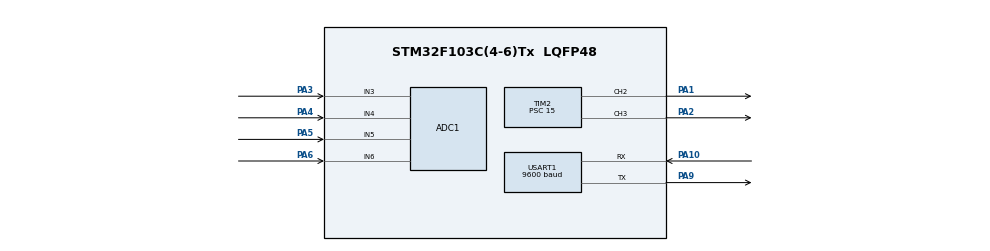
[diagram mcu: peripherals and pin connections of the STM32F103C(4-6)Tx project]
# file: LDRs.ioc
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ADC1.Channel-0\#ChannelRegularConversion=ADC_CHANNEL_3
ADC1.Channel-1\#ChannelRegularConversion=ADC_CHANNEL_4
ADC1.Channel-2\#ChannelRegularConversion=ADC_CHANNEL_5
ADC1.Channel-3\#ChannelRegularConversion=ADC_CHANNEL_6
ADC1.ContinuousConvMode=ENABLE
ADC1.DataAlign=ADC_DATAALIGN_RIGHT
ADC1.NbrOfConversion=4
ADC1.NbrOfConversionFlag=1
ADC1.Rank-0\#ChannelRegularConversion=1
ADC1.Rank-1\#ChannelRegularConversion=2
ADC1.Rank-2\#ChannelRegularConversion=3
ADC1.Rank-3\#ChannelRegularConversion=4
ADC1.SamplingTime-0\#ChannelRegularConversion=ADC_SAMPLETIME_71CYCLES_5
ADC1.SamplingTime-1\#ChannelRegularConversion=ADC_SAMPLETIME_71CYCLES_5
ADC1.SamplingTime-2\#ChannelRegularConversion=ADC_SAMPLETIME_71CYCLES_5
ADC1.SamplingTime-3\#ChannelRegularConversion=ADC_SAMPLETIME_71CYCLES_5
ADC1.master=1
Dma.ADC1.0.Direction=DMA_PERIPH_TO_MEMORY
Dma.ADC1.0.Instance=DMA1_Channel1
Dma.ADC1.0.MemDataAlignment=DMA_MDATAALIGN_WORD
Dma.ADC1.0.MemInc=DMA_MINC_ENABLE
Dma.ADC1.0.Mode=DMA_CIRCULAR
Dma.ADC1.0.PeriphDataAlignment=DMA_PDATAALIGN_WORD
Dma.ADC1.0.PeriphInc=DMA_PINC_DISABLE
Dma.ADC1.0.Priority=DMA_PRIORITY_LOW
Dma.Request0=ADC1
Mcu.Family=STM32F1
Mcu.Name=STM32F103C(4-6)Tx
Mcu.Package=LQFP48
NVIC.DMA1_Channel1_IRQn=true\:0\:0\:false\:false\:true\:false\:true\:true
NVIC.PriorityGroup=NVIC_PRIORITYGROUP_4
PA1.Signal=S_TIM2_CH2
PA10.Mode=Asynchronous
PA10.Signal=USART1_RX
PA2.Signal=S_TIM2_CH3
PA3.Signal=ADCx_IN3
PA4.Signal=ADCx_IN4
PA5.Signal=ADCx_IN5
PA6.Signal=ADCx_IN6
PA9.Mode=Asynchronous
PA9.Signal=USART1_TX
ProjectManager.HeapSize=0x200
ProjectManager.StackSize=0x400
ProjectManager.TargetToolchain=STM32CubeIDE
RCC.ADCPresc=RCC_ADCPCLK2_DIV8
RCC.APB1Freq_Value=8000000
RCC.APB2Freq_Value=8000000
RCC.APB2TimFreq_Value=8000000
SH.ADCx_IN3.0=ADC1_IN3,IN3
SH.ADCx_IN4.0=ADC1_IN4,IN4
SH.ADCx_IN5.0=ADC1_IN5,IN5
SH.ADCx_IN6.0=ADC1_IN6,IN6
SH.S_TIM2_CH2.0=TIM2_CH2,PWM Generation2 CH2
SH.S_TIM2_CH3.0=TIM2_CH3,PWM Generation3 CH3
TIM2.Channel-PWM\ Generation2\ CH2=TIM_CHANNEL_2
TIM2.Channel-PWM\ Generation3\ CH3=TIM_CHANNEL_3
TIM2.OCMode_PWM-PWM\ Generation2\ CH2=TIM_OCMODE_PWM2
TIM2.OCMode_PWM-PWM\ Generation3\ CH3=TIM_OCMODE_PWM2
TIM2.Period=999
TIM2.Prescaler=15
USART1.BaudRate=9600
USART1.VirtualMode=VM_ASYNC
VP_SYS_VS_ND.Mode=No_Debug
VP_TIM2_VS_ClockSourceINT.Mode=Internal
board=custom

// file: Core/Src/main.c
/* USER CODE BEGIN Header */
/**
  ******************************************************************************
  * @file           : main.c
  * @brief          : Main program body
  ******************************************************************************
  * @attention
  *
  * Copyright (c) 2024 STMicroelectronics.
  * All rights reserved.
  *
  * This software is licensed under terms that can be found in the LICENSE file
  * in the root directory of this software component.
  * If no LICENSE file comes with this software, it is provided AS-IS.
  *
  ******************************************************************************
  */
/* USER CODE END Header */
#include "main.h"

/* USER CODE BEGIN Includes */
#include "math.h"
#include <stdio.h>
#include <string.h>
/* USER CODE END Includes */

/* USER CODE BEGIN PD */
                              // Definiciones de umbrales y límites
#define UMBRAL_LUZ 2 // Umbral de luz para decidir si se ajusta la posición
#define LIMITE_VERTICAL_SUP 800 // Límite superior de posición vertical
#define LIMITE_VERTICAL_INF -800   // Límite inferior de posición vertical
#define LIMITE_HORIZONTAL_SUP 800 // Límite superior de posición horizontal
#define LIMITE_HORIZONTAL_INF -800   // Límite inferior de posición horizontal

/* USER CODE END PD */

ADC_HandleTypeDef hadc1;
DMA_HandleTypeDef hdma_adc1;

TIM_HandleTypeDef htim2;

UART_HandleTypeDef huart1;

/* USER CODE BEGIN PV */
int pos_servoV = 0; // Posición vertical inicial (valor entre -80 y 80)
int pos_servoH = 0; // Posición horizontal inicial (valor entre -80 y 80)
uint32_t LDR_values[4];

/* USER CODE END PV */

void SystemClock_Config(void);
static void MX_GPIO_Init(void);
static void MX_DMA_Init(void);
static void MX_ADC1_Init(void);
static void MX_TIM2_Init(void);
static void MX_USART1_UART_Init(void);
/* USER CODE BEGIN PFP */
void moverSeguidor(float promedio_arriba, float promedio_abajo, float promedio_iz, float promedio_der);
long map(long x, long in_min, long in_max, long out_min, long out_max);

/* USER CODE END PFP */

int main(void)
{

  /* MCU Configuration--------------------------------------------------------*/

  /* Reset of all peripherals, Initializes the Flash interface and the Systick. */
  HAL_Init();

  /* Configure the system clock */
  SystemClock_Config();

  /* Initialize all configured peripherals */
  MX_GPIO_Init();
  MX_DMA_Init();
  MX_ADC1_Init();
  MX_TIM2_Init();
  MX_USART1_UART_Init();
  /* USER CODE BEGIN 2 */
  HAL_ADC_Start_DMA(&hadc1, LDR_values, 4);
  HAL_TIM_PWM_Start(&htim2, TIM_CHANNEL_2);
  HAL_TIM_PWM_Start(&htim2, TIM_CHANNEL_3);
  TIM2->CCR2 =750;
  TIM2->CCR3 =750;
int iteration=1;

  /* USER CODE END 2 */

  /* Infinite loop */
  /* USER CODE BEGIN WHILE */
  while (1)
  {
	  /*// Imprimir los valores en la UART
	  		char buffer[100];
	  		sprintf(buffer, "LDR0: %lu, LDR1: %lu, LDR2: %lu, LDR3 %lu\r\n--- Medicion finalizada ---\r\n",
	  				LDR_values[0], LDR_values[1], LDR_values[2], LDR_values[3]);
	  		HAL_UART_Transmit(&huart1, (uint8_t*)buffer, strlen(buffer), HAL_MAX_DELAY);

	  // Calcular promedios de los valores de los LDRs
	  		float promedio_arriba = (LDR_values[0] + LDR_values[1]) / 2;
	  		float promedio_abajo = (LDR_values[2] + LDR_values[3]) / 2;
	  		float promedio_iz = (LDR_values[0] + LDR_values[2]) / 2;
	  		float promedio_der = (LDR_values[1] + LDR_values[3]) / 2;

	  // Mover el seguidor según las lecturas
	  		moverSeguidor(promedio_arriba, promedio_abajo, promedio_iz, promedio_der);
*/

	  //----------------------------------------------------

	  // Imprimir la leyenda de la iteración en la UART
	      char iteration_buffer[25];
	      sprintf(iteration_buffer, "\r\n--- Iteracion %d ---\r\n", iteration);
	      HAL_UART_Transmit(&huart1, (uint8_t *)iteration_buffer, strlen(iteration_buffer), HAL_MAX_DELAY);

	      // Imprimir los valores en la UART
	      char buffer[50];
	      sprintf(buffer, "LDR0: %lu, LDR1: %lu, LDR2: %lu, LDR3 %lu\r\n",
	              LDR_values[0], LDR_values[1], LDR_values[2], LDR_values[3]);
	      HAL_UART_Transmit(&huart1, (uint8_t *)buffer, strlen(buffer), HAL_MAX_DELAY);

	      // Calcular promedios de los valores de los LDRs
	      float promedio_arriba = (LDR_values[0] + LDR_values[1]) / 2;
	      float promedio_abajo = (LDR_values[2] + LDR_values[3]) / 2;
	      float promedio_iz = (LDR_values[0] + LDR_values[2]) / 2;
	      float promedio_der = (LDR_values[1] + LDR_values[3]) / 2;

	      // Imprimir los valores promedio en la UART
	      char promedio_buffer[100];
	      sprintf(promedio_buffer, "Promedio Arriba: %.2f, Abajo: %.2f, Izquierda: %.2f, Derecha: %.2f\r\n",
	              promedio_arriba, promedio_abajo, promedio_iz, promedio_der);
	      HAL_UART_Transmit(&huart1, (uint8_t *)promedio_buffer, strlen(promedio_buffer), HAL_MAX_DELAY);

	      // Mover el seguidor según las lecturas
	      moverSeguidor(promedio_arriba, promedio_abajo, promedio_iz, promedio_der);

	      iteration++; // Incrementar el contador de iteraciones

	  //-----------------------------------------------------

    /* USER CODE END WHILE */

  }
}

void SystemClock_Config(void)
{
  RCC_OscInitTypeDef RCC_OscInitStruct = {0};
  RCC_ClkInitTypeDef RCC_ClkInitStruct = {0};
  RCC_PeriphCLKInitTypeDef PeriphClkInit = {0};

  /** Initializes the RCC Oscillators according to the specified parameters
  * in the RCC_OscInitTypeDef structure.
  */
  RCC_OscInitStruct.OscillatorType = RCC_OSCILLATORTYPE_HSI;
  RCC_OscInitStruct.HSIState = RCC_HSI_ON;
  RCC_OscInitStruct.HSICalibrationValue = RCC_HSICALIBRATION_DEFAULT;
  RCC_OscInitStruct.PLL.PLLState = RCC_PLL_NONE;
  if (HAL_RCC_OscConfig(&RCC_OscInitStruct) != HAL_OK)
  {
    Error_Handler();
  }

  /** Initializes the CPU, AHB and APB buses clocks
  */
  RCC_ClkInitStruct.ClockType = RCC_CLOCKTYPE_HCLK|RCC_CLOCKTYPE_SYSCLK
                              |RCC_CLOCKTYPE_PCLK1|RCC_CLOCKTYPE_PCLK2;
  RCC_ClkInitStruct.SYSCLKSource = RCC_SYSCLKSOURCE_HSI;
  RCC_ClkInitStruct.AHBCLKDivider = RCC_SYSCLK_DIV1;
  RCC_ClkInitStruct.APB1CLKDivider = RCC_HCLK_DIV1;
  RCC_ClkInitStruct.APB2CLKDivider = RCC_HCLK_DIV1;

  if (HAL_RCC_ClockConfig(&RCC_ClkInitStruct, FLASH_LATENCY_0) != HAL_OK)
  {
    Error_Handler();
  }
  PeriphClkInit.PeriphClockSelection = RCC_PERIPHCLK_ADC;
  PeriphClkInit.AdcClockSelection = RCC_ADCPCLK2_DIV8;
  if (HAL_RCCEx_PeriphCLKConfig(&PeriphClkInit) != HAL_OK)
  {
    Error_Handler();
  }
}

static void MX_ADC1_Init(void)
{

  ADC_ChannelConfTypeDef sConfig = {0};

  /** Common config
  */
  hadc1.Instance = ADC1;
  hadc1.Init.ScanConvMode = ADC_SCAN_ENABLE;
  hadc1.Init.ContinuousConvMode = ENABLE;
  hadc1.Init.DiscontinuousConvMode = DISABLE;
  hadc1.Init.ExternalTrigConv = ADC_SOFTWARE_START;
  hadc1.Init.DataAlign = ADC_DATAALIGN_RIGHT;
  hadc1.Init.NbrOfConversion = 4;
  if (HAL_ADC_Init(&hadc1) != HAL_OK)
  {
    Error_Handler();
  }

  /** Configure Regular Channel
  */
  sConfig.Channel = ADC_CHANNEL_3;
  sConfig.Rank = ADC_REGULAR_RANK_1;
  sConfig.SamplingTime = ADC_SAMPLETIME_71CYCLES_5;
  if (HAL_ADC_ConfigChannel(&hadc1, &sConfig) != HAL_OK)
  {
    Error_Handler();
  }

  /** Configure Regular Channel
  */
  sConfig.Channel = ADC_CHANNEL_4;
  sConfig.Rank = ADC_REGULAR_RANK_2;
  if (HAL_ADC_ConfigChannel(&hadc1, &sConfig) != HAL_OK)
  {
    Error_Handler();
  }

  /** Configure Regular Channel
  */
  sConfig.Channel = ADC_CHANNEL_5;
  sConfig.Rank = ADC_REGULAR_RANK_3;
  if (HAL_ADC_ConfigChannel(&hadc1, &sConfig) != HAL_OK)
  {
    Error_Handler();
  }

  /** Configure Regular Channel
  */
  sConfig.Channel = ADC_CHANNEL_6;
  sConfig.Rank = ADC_REGULAR_RANK_4;
  if (HAL_ADC_ConfigChannel(&hadc1, &sConfig) != HAL_OK)
  {
    Error_Handler();
  }

}

static void MX_TIM2_Init(void)
{

  TIM_ClockConfigTypeDef sClockSourceConfig = {0};
  TIM_MasterConfigTypeDef sMasterConfig = {0};
  TIM_OC_InitTypeDef sConfigOC = {0};

  htim2.Instance = TIM2;
  htim2.Init.Prescaler = 15;
  htim2.Init.CounterMode = TIM_COUNTERMODE_UP;
  htim2.Init.Period = 999;
  htim2.Init.ClockDivision = TIM_CLOCKDIVISION_DIV1;
  htim2.Init.AutoReloadPreload = TIM_AUTORELOAD_PRELOAD_DISABLE;
  if (HAL_TIM_Base_Init(&htim2) != HAL_OK)
  {
    Error_Handler();
  }
  sClockSourceConfig.ClockSource = TIM_CLOCKSOURCE_INTERNAL;
  if (HAL_TIM_ConfigClockSource(&htim2, &sClockSourceConfig) != HAL_OK)
  {
    Error_Handler();
  }
  if (HAL_TIM_PWM_Init(&htim2) != HAL_OK)
  {
    Error_Handler();
  }
  sMasterConfig.MasterOutputTrigger = TIM_TRGO_RESET;
  sMasterConfig.MasterSlaveMode = TIM_MASTERSLAVEMODE_DISABLE;
  if (HAL_TIMEx_MasterConfigSynchronization(&htim2, &sMasterConfig) != HAL_OK)
  {
    Error_Handler();
  }
  sConfigOC.OCMode = TIM_OCMODE_PWM2;
  sConfigOC.Pulse = 0;
  sConfigOC.OCPolarity = TIM_OCPOLARITY_HIGH;
  sConfigOC.OCFastMode = TIM_OCFAST_DISABLE;
  if (HAL_TIM_PWM_ConfigChannel(&htim2, &sConfigOC, TIM_CHANNEL_2) != HAL_OK)
  {
    Error_Handler();
  }
  if (HAL_TIM_PWM_ConfigChannel(&htim2, &sConfigOC, TIM_CHANNEL_3) != HAL_OK)
  {
    Error_Handler();
  }
  HAL_TIM_MspPostInit(&htim2);

}

static void MX_USART1_UART_Init(void)
{

  huart1.Instance = USART1;
  huart1.Init.BaudRate = 9600;
  huart1.Init.WordLength = UART_WORDLENGTH_8B;
  huart1.Init.StopBits = UART_STOPBITS_1;
  huart1.Init.Parity = UART_PARITY_NONE;
  huart1.Init.Mode = UART_MODE_TX_RX;
  huart1.Init.HwFlowCtl = UART_HWCONTROL_NONE;
  huart1.Init.OverSampling = UART_OVERSAMPLING_16;
  if (HAL_UART_Init(&huart1) != HAL_OK)
  {
    Error_Handler();
  }

}

static void MX_DMA_Init(void)
{

  /* DMA controller clock enable */
  __HAL_RCC_DMA1_CLK_ENABLE();

  /* DMA interrupt init */
  /* DMA1_Channel1_IRQn interrupt configuration */
  HAL_NVIC_SetPriority(DMA1_Channel1_IRQn, 0, 0);
  HAL_NVIC_EnableIRQ(DMA1_Channel1_IRQn);

}

static void MX_GPIO_Init(void)
{

  /* GPIO Ports Clock Enable */
  __HAL_RCC_GPIOA_CLK_ENABLE();

}

/* USER CODE BEGIN 4 */

void moverSeguidor(float promedio_arriba, float promedio_abajo, float promedio_iz, float promedio_der) {
  // Controlar el movimiento vertical
  if ((promedio_arriba - promedio_abajo) > UMBRAL_LUZ && pos_servoV < LIMITE_VERTICAL_SUP) {
    pos_servoV++;
  }
  else if ((promedio_abajo - promedio_arriba) > UMBRAL_LUZ && pos_servoV > LIMITE_VERTICAL_INF) {
    pos_servoV--;
  }

  // Controlar el movimiento horizontal
  if ((promedio_iz - promedio_der) > UMBRAL_LUZ && pos_servoH < LIMITE_HORIZONTAL_SUP) {
    pos_servoH++;
  }
  else if ((promedio_der - promedio_iz) > UMBRAL_LUZ && pos_servoH > LIMITE_HORIZONTAL_INF) {
    pos_servoH--;
  }

  // Actualizar el PWM para controlar el servomotor vertical según la posición
  	TIM2->CCR2 = round(map(pos_servoV, -90, 90, 500, 1000));
  // Actualizar el PWM para controlar el servomotor horizontal según la posición
  	TIM2->CCR3 = round(map(pos_servoH, -900, 900, 500, 1000));
}

long map(long x, long in_min, long in_max, long out_min, long out_max)
{
	return (x - in_min) * (out_max - out_min) / (in_max - in_min) + out_min;
}

/* USER CODE END 4 */

void Error_Handler(void)
{
  __disable_irq();
  while (1)
  {
  }
}
